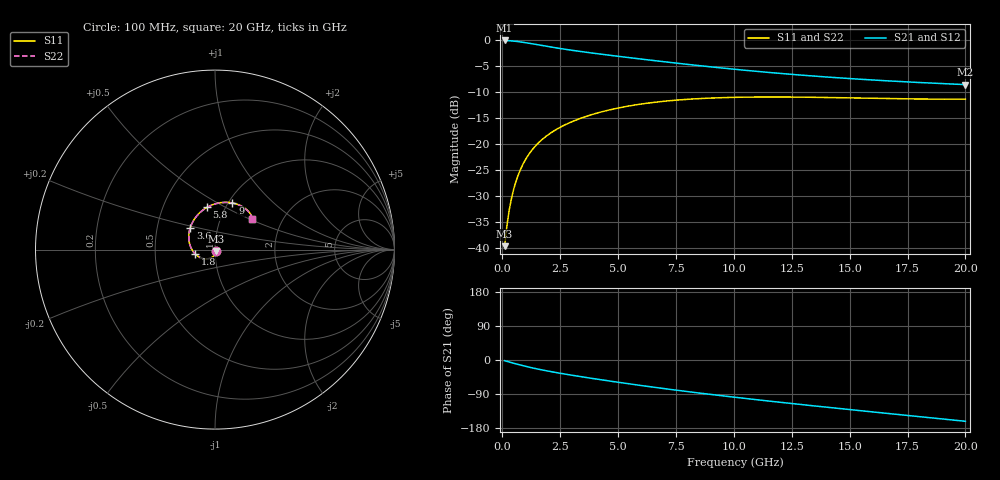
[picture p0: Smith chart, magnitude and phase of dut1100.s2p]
! Touchstone file exported from HFSS 2024.1.0
!  File:  C:/UserFiles/LocalFiles/RDL_TSV_Batchsim/temp_RDL_TSV_1100_1780100005.aedt
!  Generated:  08:25:50 AM May 30, 2026
!  Design:  RDL_TSV
!  Project:  temp_RDL_TSV_1100_1780100005
!  Setup:  Setup1
!  Solution:  Sweep
! Variables:
!  dtsv = 13.7um
!  hbump = 3um
!  htsv = 96.87um
!  ldown = 339.46um
!  lrdl = 219.85um
!  p = 40
!  p1 = 59.44um
!  rhole = 10um
!  subl = 1897.78um
!  t = 450um
!  tdown = 3.67um
!  trdl = 4.16um
!  viad = 10um
!  wdown = 25.82um
!  wrdl = 24.93um
!  xbump = 18um
# GHz S MA R 50.000000
! Terminal data exported
! Port[1] = TM1_1_T1
! Port[2] = TM1_4_T1
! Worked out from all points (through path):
!   200 points, 100 MHz to 20 GHz, reference 50 ohm
!   highest |S21| = -0.07 dB at 100 MHz (marker M1); lowest = -8.6 dB at 20 GHz (marker M2)
!   group delay of S21, straight-line fit = 20.9 ps
!   lowest |S11| = -39.6 dB at 100 MHz (marker M3), VSWR 1.02, Z = 50.7 - j0.786 ohm
!   |S11| at or under -10 dB: start of sweep to end of sweep
!   |S22| runs from -39.6 to -10.9 dB; largest |S21 - S12| = 2.3e-14
!   S11 on the Smith chart (normalised r, x): 100 MHz: 1.01, -0.02; 1.8 GHz: 0.80, -0.04; 3.6 GHz: 0.74, +0.19; 5.8 GHz: 0.82, +0.41; 9 GHz: 1.05, +0.59; 20 GHz: 1.41, +0.53
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0.1  0.01051 -47.5  0.9916 -1.8  0.9916 -1.8  0.01051 -47.5
! Gamma 0 0 0 0
! Port Impedance 50 0 50 0
0.2  0.0165 -71.0  0.9895 -3.6  0.9895 -3.6  0.0165 -71.0
0.3  0.02337 -84.5  0.9863 -5.3  0.9863 -5.3  0.02338 -84.5
0.4  0.03048 -94.4  0.9824 -7.0  0.9824 -7.0  0.03048 -94.4
0.5  0.03759 -102.5  0.9776 -8.7  0.9776 -8.7  0.03759 -102.5
0.7  0.05149 -116.1  0.9659 -12.0  0.9659 -12.0  0.05149 -116.1
0.9  0.06474 -127.7  0.952 -15.1  0.952 -15.1  0.06473 -127.7
1.2  0.08315 -143.2  0.9286 -19.5  0.9286 -19.5  0.08313 -143.1
1.5  0.09982 -156.8  0.9042 -23.5  0.9042 -23.5  0.09978 -156.7
1.8  0.1149 -169.0  0.8803 -27.2  0.8803 -27.2  0.1149 -168.9
2.5  0.1455 166.9  0.8297 -35.0  0.8297 -35.0  0.1453 167.0
3.5  0.1812 140.6  0.7705 -45.0  0.7705 -45.0  0.1809 140.6
3.6  0.1844 138.3  0.7652 -45.9  0.7652 -45.9  0.1841 138.4
4.7  0.2154 117.1  0.7119 -56.1  0.7119 -56.1  0.2149 117.1
5.8  0.2395 100.8  0.665 -65.7  0.665 -65.7  0.239 100.8
6.8  0.2561 88.9  0.6262 -74.0  0.6262 -74.0  0.2555 88.9
9  0.2775 69.5  0.5532 -90.9  0.5532 -90.9  0.2768 69.5
10.1  0.2823 62.4  0.5227 -98.7  0.5227 -98.7  0.2815 62.4
11.7  0.2843 54.3  0.4849 -109.6  0.4849 -109.6  0.2835 54.3
13.4  0.2824 48.1  0.4521 -120.7  0.4521 -120.7  0.2816 48.1
16.7  0.2743 41.4  0.4053 -141.4  0.4053 -141.4  0.2734 41.3
20  0.2709 39.7  0.3736 -161.7  0.3736 -161.7  0.27 39.6
